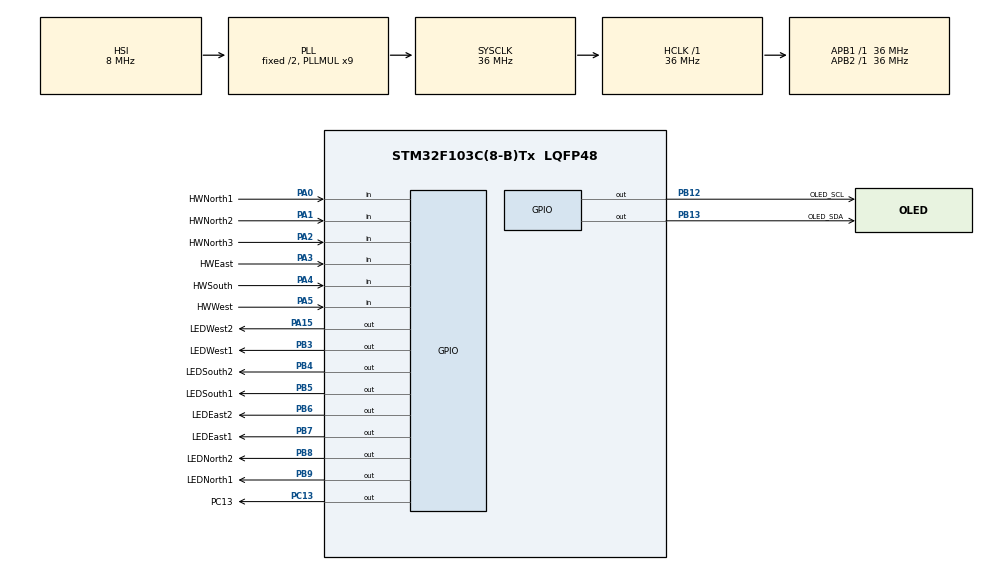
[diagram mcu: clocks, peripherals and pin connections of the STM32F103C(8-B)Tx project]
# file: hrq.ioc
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Mcu.Family=STM32F1
Mcu.Name=STM32F103C(8-B)Tx
Mcu.Package=LQFP48
NVIC.PriorityGroup=NVIC_PRIORITYGROUP_4
NVIC.TIM1_UP_IRQn=true\:0\:0\:false\:false\:true\:true\:true\:true
PA0-WKUP.GPIO_Label=HWNorth1
PA0-WKUP.GPIO_PuPd=GPIO_NOPULL
PA0-WKUP.Signal=GPIO_Input
PA1.GPIO_Label=HWNorth2
PA1.GPIO_PuPd=GPIO_NOPULL
PA1.Signal=GPIO_Input
PA13.Mode=Serial_Wire
PA13.Signal=SYS_JTMS-SWDIO
PA14.Mode=Serial_Wire
PA14.Signal=SYS_JTCK-SWCLK
PA15.GPIO_Label=LEDWest2
PA15.GPIO_ModeDefaultOutputPP=GPIO_MODE_OUTPUT_PP
PA15.GPIO_PuPd=GPIO_PULLUP
PA15.GPIO_Speed=GPIO_SPEED_FREQ_LOW
PA15.PinState=GPIO_PIN_SET
PA15.Signal=GPIO_Output
PA2.GPIO_Label=HWNorth3
PA2.GPIO_PuPd=GPIO_NOPULL
PA2.Signal=GPIO_Input
PA3.GPIO_Label=HWEast
PA3.GPIO_PuPd=GPIO_NOPULL
PA3.Signal=GPIO_Input
PA4.GPIO_Label=HWSouth
PA4.GPIO_PuPd=GPIO_NOPULL
PA4.Signal=GPIO_Input
PA5.GPIO_Label=HWWest
PA5.GPIO_PuPd=GPIO_NOPULL
PA5.Signal=GPIO_Input
PB12.GPIO_Label=OLED_SCL
PB12.GPIO_PuPd=GPIO_PULLUP
PB12.PinState=GPIO_PIN_SET
PB12.Signal=GPIO_Output
PB13.GPIO_Label=OLED_SDA
PB13.GPIO_PuPd=GPIO_PULLUP
PB13.PinState=GPIO_PIN_SET
PB13.Signal=GPIO_Output
PB3.GPIO_Label=LEDWest1
PB3.GPIO_ModeDefaultOutputPP=GPIO_MODE_OUTPUT_PP
PB3.GPIO_PuPd=GPIO_PULLUP
PB3.GPIO_Speed=GPIO_SPEED_FREQ_LOW
PB3.PinState=GPIO_PIN_SET
PB3.Signal=GPIO_Output
PB4.GPIO_Label=LEDSouth2
PB4.GPIO_ModeDefaultOutputPP=GPIO_MODE_OUTPUT_PP
PB4.GPIO_PuPd=GPIO_PULLUP
PB4.GPIO_Speed=GPIO_SPEED_FREQ_LOW
PB4.PinState=GPIO_PIN_SET
PB4.Signal=GPIO_Output
PB5.GPIO_Label=LEDSouth1
PB5.GPIO_ModeDefaultOutputPP=GPIO_MODE_OUTPUT_PP
PB5.GPIO_PuPd=GPIO_PULLUP
PB5.GPIO_Speed=GPIO_SPEED_FREQ_LOW
PB5.PinState=GPIO_PIN_SET
PB5.Signal=GPIO_Output
PB6.GPIO_Label=LEDEast2
PB6.GPIO_ModeDefaultOutputPP=GPIO_MODE_OUTPUT_PP
PB6.GPIO_PuPd=GPIO_PULLUP
PB6.GPIO_Speed=GPIO_SPEED_FREQ_LOW
PB6.PinState=GPIO_PIN_SET
PB6.Signal=GPIO_Output
PB7.GPIO_Label=LEDEast1
PB7.GPIO_ModeDefaultOutputPP=GPIO_MODE_OUTPUT_PP
PB7.GPIO_PuPd=GPIO_PULLUP
PB7.GPIO_Speed=GPIO_SPEED_FREQ_LOW
PB7.PinState=GPIO_PIN_SET
PB7.Signal=GPIO_Output
PB8.GPIO_Label=LEDNorth2
PB8.GPIO_ModeDefaultOutputPP=GPIO_MODE_OUTPUT_PP
PB8.GPIO_PuPd=GPIO_PULLUP
PB8.GPIO_Speed=GPIO_SPEED_FREQ_LOW
PB8.PinState=GPIO_PIN_SET
PB8.Signal=GPIO_Output
PB9.GPIO_Label=LEDNorth1
PB9.GPIO_PuPd=GPIO_PULLUP
PB9.PinState=GPIO_PIN_SET
PB9.Signal=GPIO_Output
PC13-TAMPER-RTC.GPIO_Label=PC13
PC13-TAMPER-RTC.Signal=GPIO_Output
ProjectManager.HeapSize=0x200
ProjectManager.StackSize=0x400
ProjectManager.TargetToolchain=MDK-ARM V5.27
RCC.AHBFreq_Value=36000000
RCC.APB1Freq_Value=36000000
RCC.APB1TimFreq_Value=36000000
RCC.APB2Freq_Value=36000000
RCC.APB2TimFreq_Value=36000000
RCC.HCLKFreq_Value=36000000
RCC.PLLMUL=RCC_PLL_MUL9
RCC.SYSCLKFreq_VALUE=36000000
RCC.SYSCLKSource=RCC_SYSCLKSOURCE_PLLCLK
RCC.USBFreq_Value=36000000
TIM1.AutoReloadPreload=TIM_AUTORELOAD_PRELOAD_ENABLE
TIM1.Period=1000
TIM1.Prescaler=7200
VP_TIM1_VS_ClockSourceINT.Mode=Internal
board=custom

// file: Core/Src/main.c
/* USER CODE BEGIN Header */
/**
  ******************************************************************************
  * @file           : main.c
  * @brief          : Main program body
  ******************************************************************************
  * @attention
  *
  * Copyright (c) 2023 STMicroelectronics.
  * All rights reserved.
  *
  * This software is licensed under terms that can be found in the LICENSE file
  * in the root directory of this software component.
  * If no LICENSE file comes with this software, it is provided AS-IS.
  *
	引脚介绍
			********************oled**********************
			PB12	SCL
			PB13	SDA

			*******************红外检测*******************
							PA0		北红外1
							PA1		北红外2
							PA2		北红外3
			PA5		西红外3					PA3		东红外2
							PA4		南红外1

			********************led灯*********************
							PB9		北红灯
							PB8		北绿灯
			PB3		西红灯					PB7		东红灯
			PA15	西绿灯					PB6		东绿灯
							PB5		南红灯
							PB4		南绿灯

  ******************************************************************************
  */
/* USER CODE END Header */
#include "main.h"
#include "tim.h"
#include "gpio.h"

/* USER CODE BEGIN Includes */
#include "stdio.h"
#include "oled.h"
/* USER CODE END Includes */

/* USER CODE BEGIN PV */
uint8_t OledString[100];

uint8_t HWA0 = 0;
uint8_t HWA1 = 0;
uint8_t HWA2 = 0;
uint8_t HWA3 = 0;
uint8_t HWA4 = 0;
uint8_t HWA5 = 0;

uint8_t HW_count1 = 0;//东西
uint8_t HW_count2 = 0;//南北

uint8_t HW_timer1 = 0;//东西红
uint8_t HW_timeg1 = 0;//东西绿
uint8_t HW_timer2 = 0;//南北红
uint8_t HW_timeg2 = 0;//南北绿

extern uint8_t time_red_WE;
extern uint8_t time_yellow_WE;
extern uint8_t time_green_WE;

extern uint8_t time_red_SN;
extern uint8_t time_yellow_SN;
extern uint8_t time_green_SN;

/* USER CODE END PV */

void SystemClock_Config(void);

/* USER CODE BEGIN 0 */
void HAL_TIM_PeriodElapsedCallback(TIM_HandleTypeDef *htim)
{
    uint8_t test;
    if(htim->Instance == TIM1)
    {
        if(++test == 5)
        {
            HAL_GPIO_TogglePin(PC13_GPIO_Port,PC13_Pin);//单独输出电平取反
            HAL_GPIO_TogglePin(LEDNorth1_GPIO_Port,LEDNorth1_Pin);
            test = 0;
        }
    }
}
/* USER CODE END 0 */

int main(void)
{

    /* MCU Configuration--------------------------------------------------------*/

    /* Reset of all peripherals, Initializes the Flash interface and the Systick. */
    HAL_Init();

    /* Configure the system clock */
    SystemClock_Config();

    /* Initialize all configured peripherals */
    MX_GPIO_Init();
    MX_TIM1_Init();
    /* USER CODE BEGIN 2 */
    OLED_Init();//初始化OLED
    OLED_Clear();//清屏
	sprintf((char *)OledString,"R  Y  G");//红黄绿
    OLED_ShowString(56,0,OledString,12); //oled显示
    sprintf((char *)OledString,"East :");//东
    OLED_ShowString(0,1,OledString,12); //oled显示
    sprintf((char *)OledString,"West :");//西
    OLED_ShowString(0,3,OledString,12); //oled显示
    sprintf((char *)OledString,"South:");//南
    OLED_ShowString(0,5,OledString,12); //oled显示
    sprintf((char *)OledString,"North:");//北
    OLED_ShowString(0,7,OledString,12); //oled显示

    /* USER CODE END 2 */
    HAL_TIM_Base_Start_IT(&htim1);
    /* Infinite loop */
    while (1)
    {
        //OLED显示
        sprintf((char *)OledString,"%02d",time_red_WE);		//东-红
        OLED_ShowString(50,1,OledString,12);
        sprintf((char *)OledString,"%02d",time_yellow_WE);	//东-黄
        OLED_ShowString(75,1,OledString,12);
        sprintf((char *)OledString,"%02d",time_green_WE);	//东-绿
        OLED_ShowString(100,1,OledString,12);
        sprintf((char *)OledString,"%02d",time_red_WE);		//西-红
        OLED_ShowString(50,3,OledString,12);
        sprintf((char *)OledString,"%02d",time_yellow_WE);	//西-黄
        OLED_ShowString(75,3,OledString,12);
        sprintf((char *)OledString,"%02d",time_green_WE);	//西-绿
        OLED_ShowString(100,3,OledString,12);

        sprintf((char *)OledString,"%02d",time_red_SN);		//南-红
        OLED_ShowString(50,5,OledString,12);
        sprintf((char *)OledString,"%02d",time_yellow_SN);	//南-黄
        OLED_ShowString(75,5,OledString,12);
        sprintf((char *)OledString,"%02d",time_green_SN);	//南-绿
        OLED_ShowString(100,5,OledString,12);
        sprintf((char *)OledString,"%02d",time_red_SN);		//北-红
        OLED_ShowString(50,7,OledString,12);
        sprintf((char *)OledString,"%02d",time_yellow_SN);	//北-黄
        OLED_ShowString(75,7,OledString,12);
        sprintf((char *)OledString,"%02d",time_green_SN);	//北-绿
        OLED_ShowString(100,7,OledString,12);

		//红外检测
		if(HAL_GPIO_ReadPin(GPIOA,HWNorth1_Pin) == 0)
			HWA0 = 1;
		else
			HWA0 = 0;
		if(HAL_GPIO_ReadPin(GPIOA,HWNorth2_Pin) == 0)
			HWA1 = 1;
		else
			HWA1 = 0;
		if(HAL_GPIO_ReadPin(GPIOA,HWNorth3_Pin) == 0)
			HWA2 = 1;
		else
			HWA2 = 0;
		if(HAL_GPIO_ReadPin(GPIOA,HWEast_Pin) == 0)
			HWA3 = 2;
		else
			HWA3 = 0;
		if(HAL_GPIO_ReadPin(GPIOA,HWSouth_Pin) == 0)
			HWA4 = 1;
		else
			HWA4 = 0;
		if(HAL_GPIO_ReadPin(GPIOA,HWWest_Pin) == 0)
			HWA5 = 3;
		else
			HWA5 = 0;
		HW_count1 = HWA3 + HWA5;//东西权值
		HW_count2 = HWA0 + HWA1 + HWA2 + HWA4;//南北权值
		sprintf((char *)OledString,"%d %d",HW_count1,HW_count2);
        OLED_ShowString(0,0,OledString,12);//oled显示权值
		//看绘图1
		if(HW_count1 > HW_count2)
		{
			if(HW_count1 <= 2)
			{
				HW_timer1 = 10;
				HW_timeg1 = 12;
				HW_timer2 = 15;
				HW_timeg2 = 7;
			}
			else if(HW_count1 == 3)
			{
				HW_timer1 = 15;
				HW_timeg1 = 17;
				HW_timer2 = 20;
				HW_timeg2 = 12;
			}
			else if(HW_count1 >= 3)
			{
				HW_timer1 = 10;
				HW_timeg1 = 17;
				HW_timer2 = 20;
				HW_timeg2 = 7;
			}
		}
		else if(HW_count1 < HW_count2)
		{
			if(HW_count1 <= 2)
			{
				HW_timer2 = 10;
				HW_timeg2 = 12;
				HW_timer1 = 15;
				HW_timeg1 = 7;
			}
			else if(HW_count1 == 3)
			{
				HW_timer2 = 15;
				HW_timeg2 = 17;
				HW_timer1 = 20;
				HW_timeg1 = 12;
			}
			else if(HW_count1 >= 3)
			{
				HW_timer2 = 10;
				HW_timeg2 = 17;
				HW_timer1 = 20;
				HW_timeg1 = 7;
			}
		}
		else if(HW_count1 == HW_count2)
		{
			HW_timer1 = 15;
			HW_timeg1 = 12;
			HW_timer2 = 15;
			HW_timeg2 = 12;
		}
    }
}

void SystemClock_Config(void)
{
    RCC_OscInitTypeDef RCC_OscInitStruct = {0};
    RCC_ClkInitTypeDef RCC_ClkInitStruct = {0};

    /** Initializes the RCC Oscillators according to the specified parameters
    * in the RCC_OscInitTypeDef structure.
    */
    RCC_OscInitStruct.OscillatorType = RCC_OSCILLATORTYPE_HSI;
    RCC_OscInitStruct.HSIState = RCC_HSI_ON;
    RCC_OscInitStruct.HSICalibrationValue = RCC_HSICALIBRATION_DEFAULT;
    RCC_OscInitStruct.PLL.PLLState = RCC_PLL_ON;
    RCC_OscInitStruct.PLL.PLLSource = RCC_PLLSOURCE_HSI_DIV2;
    RCC_OscInitStruct.PLL.PLLMUL = RCC_PLL_MUL9;
    if (HAL_RCC_OscConfig(&RCC_OscInitStruct) != HAL_OK)
    {
        Error_Handler();
    }

    /** Initializes the CPU, AHB and APB buses clocks
    */
    RCC_ClkInitStruct.ClockType = RCC_CLOCKTYPE_HCLK|RCC_CLOCKTYPE_SYSCLK
                                  |RCC_CLOCKTYPE_PCLK1|RCC_CLOCKTYPE_PCLK2;
    RCC_ClkInitStruct.SYSCLKSource = RCC_SYSCLKSOURCE_PLLCLK;
    RCC_ClkInitStruct.AHBCLKDivider = RCC_SYSCLK_DIV1;
    RCC_ClkInitStruct.APB1CLKDivider = RCC_HCLK_DIV1;
    RCC_ClkInitStruct.APB2CLKDivider = RCC_HCLK_DIV1;

    if (HAL_RCC_ClockConfig(&RCC_ClkInitStruct, FLASH_LATENCY_1) != HAL_OK)
    {
        Error_Handler();
    }
}

void Error_Handler(void)
{
    __disable_irq();
    while (1)
    {
    }
}
